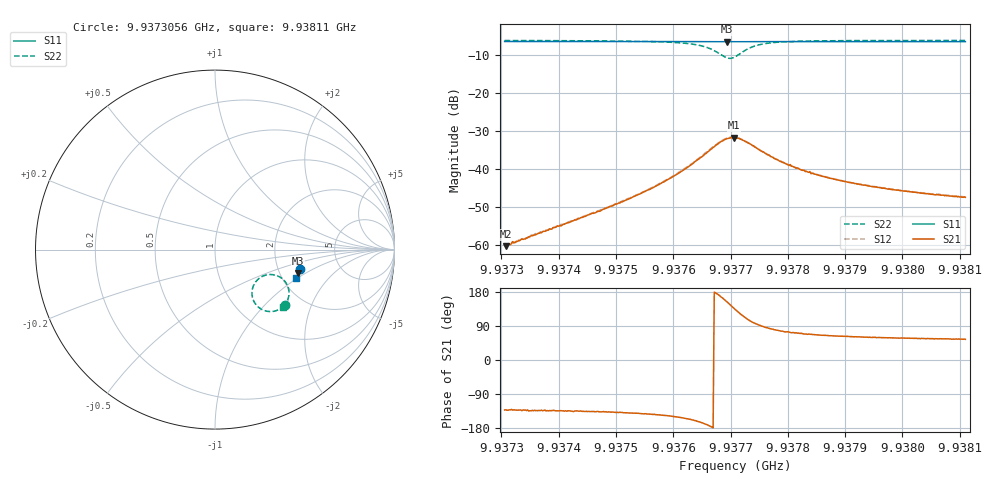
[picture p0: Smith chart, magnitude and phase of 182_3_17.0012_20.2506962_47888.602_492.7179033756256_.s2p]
#  HZ  S  RI  R  50.00
! Rohde & Schwarz Vector Network Analyzer
! Rohde-Schwarz,ZNB20-2Port,1311601062101988,3.16
! Created: UTC 3/20/2024, 11:00:12 PM
! freq[Hz]  re:S11  im:S11  re:S21  im:S21  re:S12  im:S12  re:S22  im:S22
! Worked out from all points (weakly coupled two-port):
!   401 points, 9.9373056 GHz to 9.93811 GHz, reference 50 ohm
!   highest |S21| = -31.66 dB at 9.9377058 GHz (marker M1); lowest = -60.3 dB at 9.9373076 GHz (marker M2)
!   lowest |S11| = -6.4 dB at 9.9376937 GHz (marker M3), VSWR 2.84, Z = 125 - j42.6 ohm
!   |S11| at or under -10 dB: nowhere
!   |S22| runs from -10.8 to -6.0 dB; largest |S21 - S12| = 0.0012
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9.93730559e9  0.4715 -0.1068  -0.000661 -0.000737  -0.000668 -0.000696  0.3885 -0.3111
9.9373076e9  0.4715 -0.1069  -0.000638 -0.000723  -0.000704 -0.00071  0.3882 -0.3111
9.93734179e9  0.4708 -0.1093  -0.0008 -0.000892  -0.00086 -0.000897  0.3849 -0.3142
9.93744032e9  0.4688 -0.116  -0.00164 -0.00162  -0.00167 -0.00163  0.3732 -0.3238
9.93752277e9  0.4668 -0.1216  -0.00311 -0.00263  -0.00318 -0.00263  0.3564 -0.334
9.93757505e9  0.4656 -0.1252  -0.00511 -0.00361  -0.0053 -0.00363  0.3361 -0.3418
9.93761125e9  0.4644 -0.1276  -0.00792 -0.00433  -0.00816 -0.00424  0.3109 -0.3451
9.93765348e9  0.4626 -0.1306  -0.0149 -0.00325  -0.0155 -0.00309  0.2533 -0.3289
9.93767359e9  0.4615 -0.1312  -0.0205 0.000913  -0.0208 0.00166  0.216 -0.2865
9.93768364e9  0.4607 -0.1315  -0.0225 0.00565  -0.0227 0.00616  0.2059 -0.2481
9.9376937e9  0.4603 -0.1316  -0.0226 0.0112  -0.0227 0.0121  0.2139 -0.2018
9.93770576e9  0.4605 -0.1316  -0.0191 0.0179  -0.0186 0.0188  0.2534 -0.155
9.93770777e9  0.4604 -0.1315  -0.018 0.0188  -0.0176 0.0197  0.2624 -0.1498
9.93771783e9  0.4609 -0.1318  -0.0126 0.0213  -0.0121 0.0221  0.3089 -0.1387
9.9377319e9  0.4613 -0.1326  -0.00575 0.0212  -0.00522 0.0214  0.3609 -0.1525
9.93775402e9  0.4616 -0.1341  0.000184 0.0172  0.000537 0.0174  0.3999 -0.1928
9.93778218e9  0.4613 -0.1364  0.00267 0.013  0.00291 0.013  0.4121 -0.2317
9.9378043e9  0.461 -0.1383  0.00342 0.011  0.00353 0.0107  0.4122 -0.2515
9.9378425e9  0.4599 -0.1409  0.00343 0.00813  0.00358 0.00813  0.4082 -0.2736
9.93790484e9  0.4586 -0.1452  0.00312 0.00594  0.00332 0.00595  0.4 -0.2931
9.93797723e9  0.4567 -0.1501  0.00283 0.00467  0.00296 0.00465  0.3922 -0.3065
9.93810995e9  0.4533 -0.1588  0.00246 0.00346  0.00255 0.00347  0.3807 -0.3215
